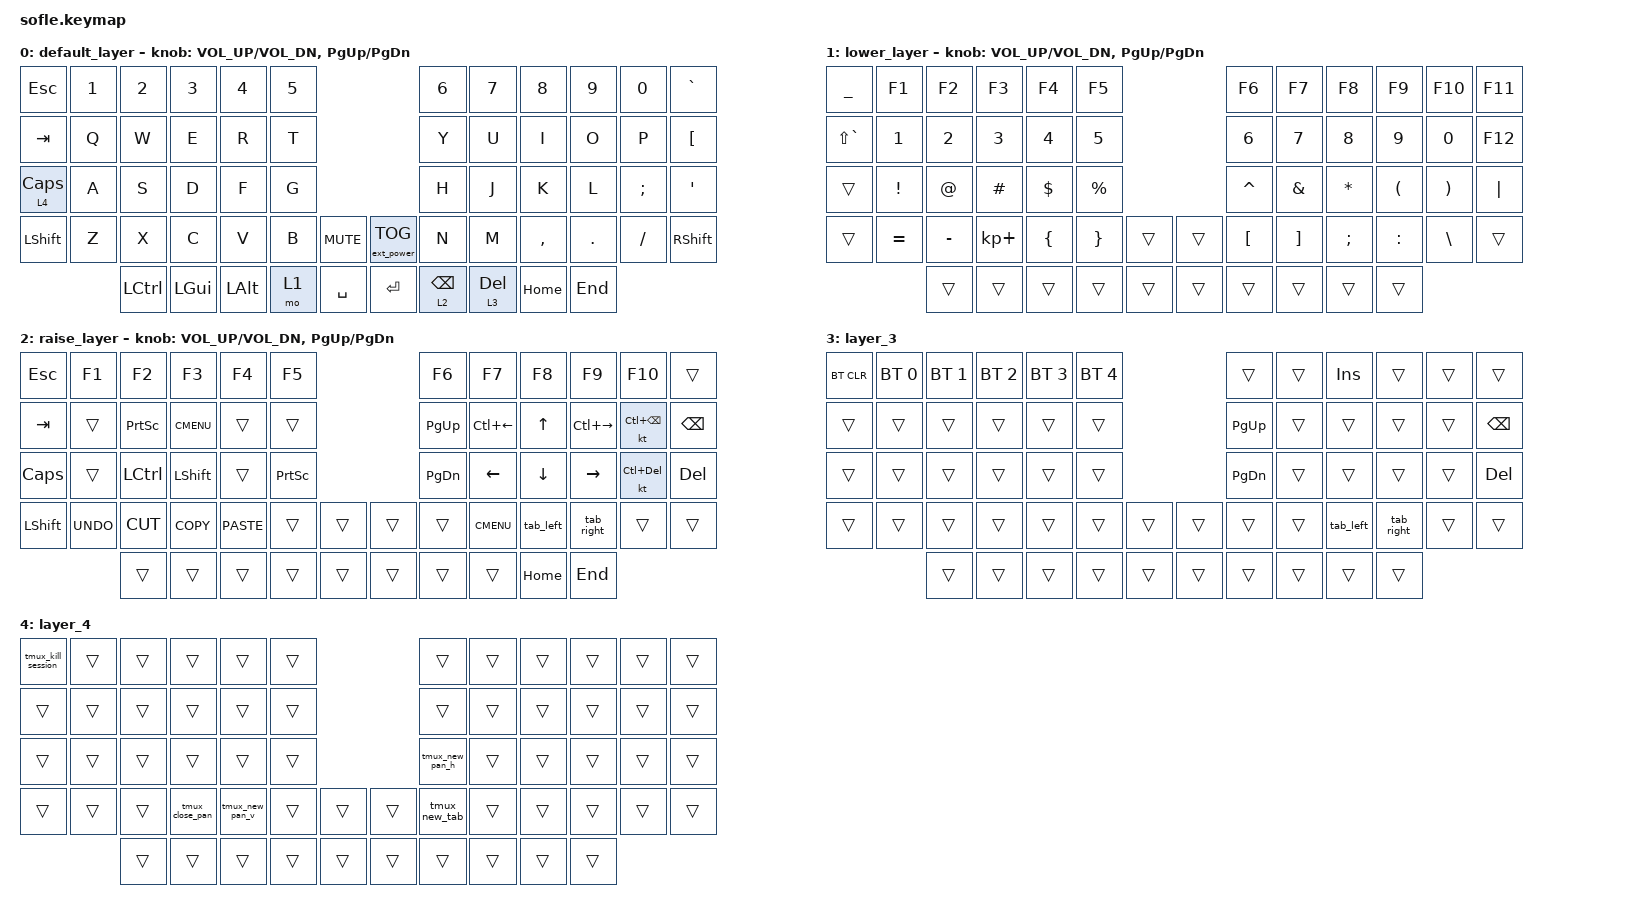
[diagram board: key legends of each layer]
/*
 * Copyright (c) 2020 The ZMK Contributors
 *
 * SPDX-License-Identifier: MIT
 */

#include <behaviors.dtsi>
#include <dt-bindings/zmk/bt.h>
#include <dt-bindings/zmk/ext_power.h>
#include <dt-bindings/zmk/keys.h>
#include <dt-bindings/zmk/keys.h>

/ {
    combos {
        compatible = "zmk,combos";

        ESC_1 {
            bindings = <&kp ESCAPE>;
            key-positions = <0 1>;
        };
    };

    macros {
        tab_left: tab_left {
            compatible = "zmk,behavior-macro";
            #binding-cells = <0>;
            bindings = <&kp LC(LS(TAB))>;
            label = "TAB_LEFT";
        };

        tab_right: tab_right {
            compatible = "zmk,behavior-macro";
            #binding-cells = <0>;
            bindings = <&kp LC(TAB)>;
            label = "TAB_RIGHT";
        };

        tmux_new_pan_h: tmux_new_pan_h {
            compatible = "zmk,behavior-macro";
            #binding-cells = <0>;
            bindings = <&kp LC(B) &kp LS(PERCENT)>;
            label = "TMUX_NEW_PAN_H";
        };

        tmux_kill_session: tmux_kill_session {
            compatible = "zmk,behavior-macro";
            #binding-cells = <0>;
            bindings = <&kp LC(B) &kp COLON &kp K &kp I &kp L &kp L &kp MINUS &kp S &kp E &kp S &kp S &kp I &kp O &kp N &kp ENTER>;
            label = "TMUX_KILL_SESSION";
        };

        tmux_new_pan_v: tmux_new_pan_v {
            compatible = "zmk,behavior-macro";
            #binding-cells = <0>;
            bindings = <&kp LC(B) &kp LS(DOUBLE_QUOTES)>;
            label = "TMUX_NEW_PAN_V";
        };

        tmux_close_pan: tmux_close_pan {
            compatible = "zmk,behavior-macro";
            #binding-cells = <0>;
            bindings = <&kp LC(B) &kp X>;
            label = "TMUX_CLOSE_PAN";
        };

        tmux_new_tab: tmux_new_tab {
            compatible = "zmk,behavior-macro";
            #binding-cells = <0>;
            bindings = <&kp LC(B) &kp C>;
            label = "TMUX_NEW_TAB";
        };
    };

    keymap {
        compatible = "zmk,keymap";

        default_layer {
            // ------------------------------------------------------------------------------------------------------------
            // |  `    |  1  |  2  |  3   |  4   |  5   |                         |  6   |  7    |  8    |  9   |   0   |       |
            // |  ESC  |  Q  |  W  |  E   |  R   |  T   |                         |  Y   |  U    |  I    |  O   |   P   | BKSPC |
            // |  TAB  |  A  |  S  |  D   |  F   |  G   |                         |  H   |  J    |  K    |  L   |   ;   |   '   |
            // | SHIFT |  Z  |  X  |  C   |  V   |  B   |  MUTE  |        | ExtPw |  N   |  M    |  ,    |  .   |   /   | SHIFT |
            //               | GUI | ALT  | CTRL | LOWER|  ENTER |        | SPACE | RAISE| CTRL  | ALT   | GUI  |

            bindings = <
&kp ESCAPE  &kp N1  &kp N2            &kp N3    &kp N4    &kp N5                                   &kp N6           &kp N7        &kp N8     &kp N9   &kp N0    &kp GRAVE
&kp TAB     &kp Q   &kp W             &kp E     &kp R     &kp T                                    &kp Y            &kp U         &kp I      &kp O    &kp P     &kp LEFT_BRACKET
&lt 4 CLCK  &kp A   &kp S             &kp D     &kp F     &kp G                                    &kp H            &kp J         &kp K      &kp L    &kp SEMI  &kp SQT
&kp LSHFT   &kp Z   &kp X             &kp C     &kp V     &kp B   &kp C_MUTE    &ext_power EP_TOG  &kp N            &kp M         &kp COMMA  &kp DOT  &kp FSLH  &kp RSHFT
                    &kp LEFT_CONTROL  &kp LGUI  &kp LALT  &mo 1   &kp SPACE     &kp ENTER          &lt 2 BACKSPACE  &lt 3 DELETE  &kp HOME   &kp END
            >;

            sensor-bindings = <&inc_dec_kp C_VOL_UP C_VOL_DN &inc_dec_kp PG_UP PG_DN>;
        };

        lower_layer {
            // TODO: Some binds are waiting for shifted keycode support.
            // ------------------------------------------------------------------------------------------------------------
            // |       |  F1 |  F2 |  F3  |  F4  |  F5  |                   |  F6  |  F7   |  F8   |  F9  |  F10  |  F11  |
            // | `     |   1 |   2 |   3  |   4  |   5  |                   |   6  |   7   |   8   |   9  |    0  |  F12  |
            // |       |  !  |  @  |  #   |  $   |  %   |                   |  ^   |  &    |  *    |  (   |   )   |   |   |
            // |       |  =  |  -  |  +   |  {   |  }   |        |  |       |  [   |  ]    |  ;    |  :   |   \   |       |
            //               |     |      |      |      |        |  |       |      |       |       |      |

            bindings = <
&kp UNDERSCORE  &kp F1     &kp F2     &kp F3       &kp F4    &kp F5                       &kp F6     &kp F7    &kp F8        &kp F9     &kp F10   &kp F11
&kp LS(GRAVE)   &kp N1     &kp N2     &kp N3       &kp N4    &kp N5                       &kp N6     &kp N7    &kp N8        &kp N9     &kp N0    &kp F12
&trans          &kp EXCL   &kp AT     &kp HASH     &kp DLLR  &kp PRCNT                    &kp CARET  &kp AMPS  &kp ASTERISK  &kp LPAR   &kp RPAR  &kp PIPE
&trans          &kp EQUAL  &kp MINUS  &kp KP_PLUS  &kp LBRC  &kp RBRC   &trans    &trans  &kp LBKT   &kp RBKT  &kp SEMI      &kp COLON  &kp BSLH  &trans
                           &trans     &trans       &trans    &trans     &trans    &trans  &trans     &trans    &trans        &trans
            >;

            sensor-bindings = <&inc_dec_kp C_VOL_UP C_VOL_DN &inc_dec_kp PG_UP PG_DN>;
        };

        raise_layer {
            // ------------------------------------------------------------------------------------------------------------
            // |BTCLR| BT1  | BT2  |  BT3  |  BT4  |  BT5 |                |      |      |       |      |       |       |
            // |     | INS  | PSCR | GUI   |       |      |                | PGUP |      |   ^   |      |       |       |
            // |     | ALT  | CTRL | SHIFT |       | CAPS |                | PGDN |   <- |   v   |  ->  |  DEL  | BKSPC |
            // |     | UNDO | CUT  | COPY  | PASTE |      |      |  |      |      |      |       |      |       |       |
            //              |      |       |       |      |      |  |      |      |      |       |      |

            bindings = <
&kp ESCAPE  &kp F1      &kp F2     &kp F3       &kp F4       &kp F5                             &kp F6     &kp F7              &kp F8     &kp F9               &kp F10            &trans
&kp TAB     &trans      &kp PSCRN  &kp K_CMENU  &trans       &trans                             &kp PG_UP  &kp LC(LEFT_ARROW)  &kp UP     &kp LC(RIGHT_ARROW)  &kt LC(BACKSPACE)  &kp BACKSPACE
&kp CLCK    &trans      &kp LCTRL  &kp LSHFT    &trans       &kp PRINTSCREEN                    &kp PG_DN  &kp LEFT            &kp DOWN   &kp RIGHT            &kt LC(DEL)        &kp DEL
&kp LSHFT   &kp K_UNDO  &kp K_CUT  &kp K_COPY   &kp K_PASTE  &trans           &trans    &trans  &trans     &kp K_CMENU         &tab_left  &tab_right           &trans             &trans
                        &trans     &trans       &trans       &trans           &trans    &trans  &trans     &trans              &kp HOME   &kp END
            >;

            sensor-bindings = <&inc_dec_kp C_VOL_UP C_VOL_DN &inc_dec_kp PG_UP PG_DN>;
        };

        layer_3 {
            bindings = <
&bt BT_CLR  &bt BT_SEL 0  &bt BT_SEL 1  &bt BT_SEL 2  &bt BT_SEL 3  &bt BT_SEL 4                    &trans         &trans  &kp INS    &trans      &trans  &trans
&trans      &trans        &trans        &trans        &trans        &trans                          &kp PAGE_UP    &trans  &trans     &trans      &trans  &kp BACKSPACE
&trans      &trans        &trans        &trans        &trans        &trans                          &kp PAGE_DOWN  &trans  &trans     &trans      &trans  &kp DEL
&trans      &trans        &trans        &trans        &trans        &trans        &trans    &trans  &trans         &trans  &tab_left  &tab_right  &trans  &trans
                          &trans        &trans        &trans        &trans        &trans    &trans  &trans         &trans  &trans     &trans
            >;
        };

        layer_4 {
            bindings = <
&tmux_kill_session  &trans  &trans  &trans           &trans           &trans                    &trans           &trans  &trans  &trans  &trans  &trans
&trans              &trans  &trans  &trans           &trans           &trans                    &trans           &trans  &trans  &trans  &trans  &trans
&trans              &trans  &trans  &trans           &trans           &trans                    &tmux_new_pan_h  &trans  &trans  &trans  &trans  &trans
&trans              &trans  &trans  &tmux_close_pan  &tmux_new_pan_v  &trans  &trans    &trans  &tmux_new_tab    &trans  &trans  &trans  &trans  &trans
                            &trans  &trans           &trans           &trans  &trans    &trans  &trans           &trans  &trans  &trans
            >;
        };
    };
};
